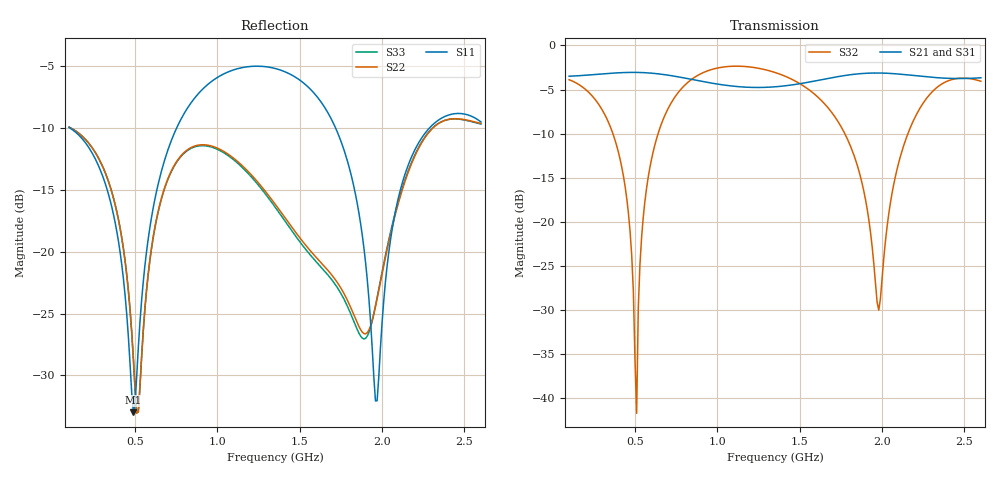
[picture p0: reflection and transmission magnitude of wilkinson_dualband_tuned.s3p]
! Touchstone file exported from HFSS 2025.2.4
!  File:  C:/Users/Karthik/Documents/yash/MCD-Project/em/tune_L7.6.aedt
!  Generated:  01:04:05 PM Nov 24, 2026
!  Design:  Wilkinson
!  Project:  tune_L7.6
! Variables:
!  Cs = 2.934pF
!  L1 = 42.97mm
!  Lc = 44.873mm
!  Lf = 10mm
!  Lv = 7.6nH
!  Lx = 12mm
!  Ly = 6mm
!  Rv = 100ohm
!  Sc = 0.48mm
!  W1 = 4.831mm
!  W50 = 2.46mm
!  Wc = 1.44mm
!  h = 0.8mm
!  t_isl = 0.16mm
# GHz S MA R 50.000000
! Terminal data exported
! Port[1] = P1
! Port[2] = P2
! Port[3] = P3
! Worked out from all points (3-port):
!   251 points, 100 MHz to 2.6 GHz, reference 50 ohm
!   strongest paths, dB at 100 MHz, 720 MHz, 1.35 GHz, 1.98 GHz, 2.6 GHz:
!     S21: -3.5, -3.4, -4.7, -3.1, -3.7
!     S31: -3.5, -3.4, -4.7, -3.1, -3.7
!     S32: -3.9, -6.5, -3.1, -30.0, -4.1
!   lowest |S11| = -33.0 dB at 490 MHz (marker M1), VSWR 1.05, Z = 47.8 + j0.27 ohm
!   |S11| at or under -10 dB: 104.2 MHz to 752.9 MHz (648.7 MHz wide, 151 % of centre); 1.718 GHz to 2.288 GHz (569.8 MHz wide, 28.5 % of centre)
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0.1  0.3175 163.7  0.6689 -18.5  0.6689 -18.4
     0.6689 -18.5  0.3187 160.8  0.639 -19.9
     0.6689 -18.4  0.639 -19.9  0.3188 160.8
0.49  0.02244 172.8  0.7031 -95.0  0.7032 -95.0
      0.7031 -95.0  0.03677 104.5  0.04055 -103.8
      0.7032 -95.0  0.04055 -103.8  0.03729 104.1
0.51  0.0311 -139.0  0.7029 -99.2  0.703 -99.2
      0.7029 -99.2  0.02223 138.9  0.008199 59.2
      0.703 -99.2  0.008199 59.2  0.02248 137.4
0.56  0.08764 -117.6  0.7003 -109.6  0.7005 -109.6
      0.7003 -109.6  0.05913 -151.6  0.1302 56.3
      0.7005 -109.6  0.1302 56.3  0.05845 -152.0
0.73  0.2917 -139.3  0.6714 -144.5  0.672 -144.4
      0.6714 -144.5  0.2182 179.3  0.4897 16.5
      0.672 -144.4  0.4897 16.5  0.2168 179.2
1.35  0.5503 121.7  0.5825 106.2  0.584 106.1
      0.5825 106.2  0.156 77.7  0.7024 -92.0
      0.584 106.1  0.7024 -92.0  0.1517 77.6
1.8  0.2198 38.8  0.6805 23.2  0.6813 23.0
     0.6805 23.2  0.06152 24.9  0.2801 -167.0
     0.6813 23.0  0.2801 -167.0  0.0581 24.9
1.98  0.03118 -121.0  0.6975 -14.4  0.6975 -14.6
      0.6975 -14.4  0.06949 -99.2  0.03154 75.2
      0.6975 -14.6  0.03154 75.2  0.07067 -101.8
2.18  0.2426 154.1  0.6769 -55.1  0.6764 -55.2
      0.6769 -55.1  0.2278 176.5  0.3566 -46.3
      0.6764 -55.2  0.3566 -46.3  0.2303 176.2
2.6  0.3346 72.4  0.6555 -132.9  0.6565 -133.0
     0.6555 -132.9  0.33 62.3  0.6261 -137.8
     0.6565 -133.0  0.6261 -137.8  0.3281 62.2
